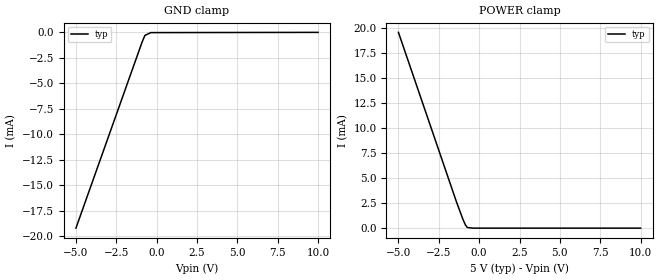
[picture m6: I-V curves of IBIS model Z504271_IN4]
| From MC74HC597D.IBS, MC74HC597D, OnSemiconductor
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| (C) COPYRIGHT 1993-2000
| MENTOR GRAPHICS CORPORATION
| ICX STANDARD LIBRARY, ICX PROJECT MODELING,
| ICX CUSTOM MODELING, ICX VENDOR MODEL
| ALL RIGHTS RESERVED.
| THE FOLLOWING ARE TRADEMARKS OR SERVICE MARKS OF
| MENTOR GRAPHICS CORPORATION:ICX (R), ICX STANDARD
| LIBRARY(R), ICX PROJECT MODELING(R), ICX CUSTOM
| MODELING(R), qualityIBIS(TM), MODELVIEWER(TM),
| AND MODELEDITOR(TM)
| ALL COPIES OF SOFTWARE, INCLUDING BUT NOT LIMITED TO
| ANY MODIFICATIONS, ENHANCEMENTS OR DERIVATIVE WORKS,
| MUST CONTAIN ALL MENTOR GRAPHICS CORPORATION'S
| NOTICES AND LEGENDS, INCLUDING THOSE EMBEDDED IN
| SOFTWARE AND THOSE AFFIXED TO SOFTWARE MEDIUM
| AND CONTAINER, AS RECEIVED FROM MENTOR GRAPHICS
| CORPORATION.
| Model Application Version 1.89 2/18/99.
[Model] Z504271_IN4
Model_type Input
Vinl = 1.000V
Vinh = 3.500V
C_comp 4.000pF NA NA
| variable typ   min   max
[Voltage Range] 5.000V NA NA
[GND Clamp Reference] 0.000V NA NA
[POWER Clamp Reference] 5.000V NA NA
[GND Clamp]
-5V       -19.22mA   NA         NA
-898.4mV  -936.2uA   NA         NA
-727.7mV  -294.6uA   NA         NA
-363.8mV  -19.67uA   NA         NA
10V       3.36uA     NA         NA
[POWER Clamp]
-5V       19.54mA    NA         NA
-1.406V   2.623mA    NA         NA
-1.005V   880.3uA    NA         NA
-850mV    315.8uA    NA         NA
-731mV    62.59uA    NA         NA
-365.5mV  0A         NA         NA
10V       0A         NA         NA
